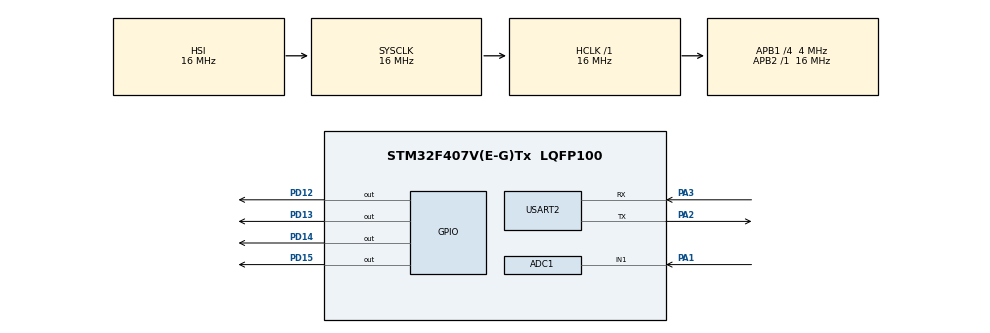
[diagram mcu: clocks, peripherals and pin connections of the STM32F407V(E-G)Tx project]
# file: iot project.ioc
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ADC1.Channel-0\#ChannelRegularConversion=ADC_CHANNEL_1
ADC1.ClockPrescaler=ADC_CLOCK_SYNC_PCLK_DIV2
ADC1.ContinuousConvMode=ENABLE
ADC1.DMAContinuousRequests=ENABLE
ADC1.EnableAnalogWatchDog=false
ADC1.NbrOfConversionFlag=1
ADC1.Rank-0\#ChannelRegularConversion=1
ADC1.Resolution=ADC_RESOLUTION_12B
ADC1.SamplingTime-0\#ChannelRegularConversion=ADC_SAMPLETIME_3CYCLES
ADC1.master=1
Dma.ADC1.0.Direction=DMA_PERIPH_TO_MEMORY
Dma.ADC1.0.FIFOMode=DMA_FIFOMODE_DISABLE
Dma.ADC1.0.Instance=DMA2_Stream0
Dma.ADC1.0.MemDataAlignment=DMA_MDATAALIGN_HALFWORD
Dma.ADC1.0.MemInc=DMA_MINC_ENABLE
Dma.ADC1.0.Mode=DMA_CIRCULAR
Dma.ADC1.0.PeriphDataAlignment=DMA_PDATAALIGN_HALFWORD
Dma.ADC1.0.PeriphInc=DMA_PINC_DISABLE
Dma.ADC1.0.Priority=DMA_PRIORITY_LOW
Dma.Request0=ADC1
Dma.Request1=USART2_TX
Dma.Request2=USART2_RX
Dma.USART2_RX.2.Direction=DMA_PERIPH_TO_MEMORY
Dma.USART2_RX.2.FIFOMode=DMA_FIFOMODE_DISABLE
Dma.USART2_RX.2.Instance=DMA1_Stream5
Dma.USART2_RX.2.MemDataAlignment=DMA_MDATAALIGN_BYTE
Dma.USART2_RX.2.MemInc=DMA_MINC_ENABLE
Dma.USART2_RX.2.Mode=DMA_NORMAL
Dma.USART2_RX.2.PeriphDataAlignment=DMA_PDATAALIGN_BYTE
Dma.USART2_RX.2.PeriphInc=DMA_PINC_DISABLE
Dma.USART2_RX.2.Priority=DMA_PRIORITY_LOW
Dma.USART2_TX.1.Direction=DMA_MEMORY_TO_PERIPH
Dma.USART2_TX.1.FIFOMode=DMA_FIFOMODE_DISABLE
Dma.USART2_TX.1.Instance=DMA1_Stream6
Dma.USART2_TX.1.MemDataAlignment=DMA_MDATAALIGN_BYTE
Dma.USART2_TX.1.MemInc=DMA_MINC_ENABLE
Dma.USART2_TX.1.Mode=DMA_NORMAL
Dma.USART2_TX.1.PeriphDataAlignment=DMA_PDATAALIGN_BYTE
Dma.USART2_TX.1.PeriphInc=DMA_PINC_DISABLE
Dma.USART2_TX.1.Priority=DMA_PRIORITY_VERY_HIGH
Mcu.Family=STM32F4
Mcu.Name=STM32F407V(E-G)Tx
Mcu.Package=LQFP100
NVIC.DMA1_Stream5_IRQn=true\:0\:0\:false\:false\:true\:false\:true\:true
NVIC.DMA1_Stream6_IRQn=true\:0\:0\:false\:false\:true\:false\:true\:true
NVIC.DMA2_Stream0_IRQn=true\:0\:0\:false\:false\:true\:false\:true\:true
NVIC.PriorityGroup=NVIC_PRIORITYGROUP_0
NVIC.TIM6_DAC_IRQn=true\:0\:0\:false\:false\:true\:true\:true\:true
NVIC.USART2_IRQn=true\:0\:0\:false\:false\:true\:true\:true\:true
PA1.Signal=ADCx_IN1
PA2.GPIO_PuPd=GPIO_PULLUP
PA2.Mode=Asynchronous
PA2.Signal=USART2_TX
PA3.GPIO_PuPd=GPIO_PULLUP
PA3.Mode=Asynchronous
PA3.Signal=USART2_RX
PD12.Signal=GPIO_Output
PD13.Signal=GPIO_Output
PD14.Signal=GPIO_Output
PD15.Signal=GPIO_Output
PH0-OSC_IN.Mode=HSE-External-Oscillator
PH0-OSC_IN.Signal=RCC_OSC_IN
PH1-OSC_OUT.Mode=HSE-External-Oscillator
PH1-OSC_OUT.Signal=RCC_OSC_OUT
ProjectManager.HeapSize=0x200
ProjectManager.StackSize=0x400
ProjectManager.TargetToolchain=STM32CubeIDE
RCC.48MHZClocksFreq_Value=18285714.285714287
RCC.AHBFreq_Value=16000000
RCC.APB1CLKDivider=RCC_HCLK_DIV4
RCC.APB1Freq_Value=4000000
RCC.APB1TimFreq_Value=8000000
RCC.APB2Freq_Value=16000000
RCC.APB2TimFreq_Value=16000000
RCC.CortexFreq_Value=16000000
RCC.HCLKFreq_Value=16000000
RCC.HSE_VALUE=8000000
RCC.HSI_VALUE=16000000
RCC.LSE_VALUE=32768
RCC.PLLM=8
RCC.PLLN=64
RCC.PLLQ=7
RCC.SYSCLKFreq_VALUE=16000000
RCC.VCOOutputFreq_Value=128000000
SH.ADCx_IN1.0=ADC1_IN1,IN1
TIM6.Period=9999
TIM6.Prescaler=1599
USART2.OverSampling=UART_OVERSAMPLING_16
USART2.VirtualMode=VM_ASYNC
VP_TIM6_VS_ClockSourceINT.Mode=Enable_Timer
board=STM32F407G-DISC1

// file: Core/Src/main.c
/* USER CODE BEGIN Header */
/**
  ******************************************************************************
  * @file           : main.c
  * @brief          : Main program body
  ******************************************************************************
  * @attention
  *
  * Copyright (c) 2025 STMicroelectronics.
  * All rights reserved.
  *
  * This software is licensed under terms that can be found in the LICENSE file
  * in the root directory of this software component.
  * If no LICENSE file comes with this software, it is provided AS-IS.
  *
  ******************************************************************************
  */
/* USER CODE END Header */
#include "main.h"
#include "adc.h"
#include "dma.h"
#include "tim.h"
#include "usart.h"
#include "gpio.h"

/* USER CODE BEGIN Includes */
#include <stdio.h>
#include <string.h>
/* USER CODE END Includes */

/* USER CODE BEGIN PM */
#define ADC_THRESHOLD_HIGH  4000
#define ADC_THRESHOLD_MIDH  3000
#define ADC_THRESHOLD_MIDL  2000
#define ADC_THRESHOLD_LOW   1000
#define MAX_RETRIES 3
/* USER CODE END PM */

/* USER CODE BEGIN PV */
//volatile uint16_t adc_val;
int adc_val;
char tx_buffer [10];
int len;
/* USER CODE END PV */

void SystemClock_Config(void);

/* USER CODE BEGIN 0 */
void Start_ADC_DMA() {
    HAL_ADC_Start_DMA(&hadc1, (uint32_t*)&adc_val, 1);
}

void Process_ADC_Value() {
	uint16_t pins_to_set = 0;
	uint16_t pins_to_reset = 0;

 	if (adc_val > ADC_THRESHOLD_HIGH) {
        pins_to_set = GPIO_PIN_12 | GPIO_PIN_13 | GPIO_PIN_14 | GPIO_PIN_15;
    } else if (adc_val > ADC_THRESHOLD_MIDH) {
        pins_to_set = GPIO_PIN_12 | GPIO_PIN_13 | GPIO_PIN_14;
        pins_to_reset = GPIO_PIN_15;
    } else if (adc_val > ADC_THRESHOLD_MIDL) {
        pins_to_set = GPIO_PIN_12 | GPIO_PIN_13;
        pins_to_reset = GPIO_PIN_14 | GPIO_PIN_15;
    } else if (adc_val > ADC_THRESHOLD_LOW) {
        pins_to_set = GPIO_PIN_12;
        pins_to_reset = GPIO_PIN_13 | GPIO_PIN_14 | GPIO_PIN_15;
    } else {
        pins_to_reset = GPIO_PIN_12 | GPIO_PIN_13 | GPIO_PIN_14 | GPIO_PIN_15;
    }

    HAL_GPIO_WritePin(GPIOD, pins_to_set, GPIO_PIN_SET);
    HAL_GPIO_WritePin(GPIOD, pins_to_reset, GPIO_PIN_RESET);
}

void Send_ADC_Value() {
	len = snprintf(tx_buffer, sizeof(tx_buffer), "%d\n", adc_val);

	if (huart2.gState == HAL_UART_STATE_READY) {  // Check if UART is ready
		if (HAL_UART_Transmit_DMA(&huart2, (uint8_t*)tx_buffer, len) != HAL_OK) {
			Error_Handler();
		}
	}
}

void HAL_ADC_ConvCpltCallback(ADC_HandleTypeDef* hadc) {
    if (hadc->Instance == ADC1) {
    	Process_ADC_Value();
    }
}

void HAL_TIM_PeriodElapsedCallback(TIM_HandleTypeDef *htim) {
    if (htim->Instance == TIM6) {  // Check if the timer is TIM6
    	Send_ADC_Value();
    }
}

/* USER CODE END 0 */

int main(void)
{

  /* MCU Configuration--------------------------------------------------------*/

  /* Reset of all peripherals, Initializes the Flash interface and the Systick. */
  HAL_Init();

  /* Configure the system clock */
  SystemClock_Config();

  /* Initialize all configured peripherals */
  MX_GPIO_Init();
  MX_DMA_Init();
  MX_ADC1_Init();
  MX_USART2_UART_Init();
  MX_TIM6_Init();
  /* USER CODE BEGIN 2 */
  HAL_TIM_Base_Start_IT(&htim6);  // Start the 1s Timer Interrupt
  Start_ADC_DMA();	// Start ADC with DMA
  /* USER CODE END 2 */

  /* Infinite loop */
  while (1)
  {

  }
}

void SystemClock_Config(void)
{
  RCC_OscInitTypeDef RCC_OscInitStruct = {0};
  RCC_ClkInitTypeDef RCC_ClkInitStruct = {0};

  /** Configure the main internal regulator output voltage
  */
  __HAL_RCC_PWR_CLK_ENABLE();
  __HAL_PWR_VOLTAGESCALING_CONFIG(PWR_REGULATOR_VOLTAGE_SCALE1);

  /** Initializes the RCC Oscillators according to the specified parameters
  * in the RCC_OscInitTypeDef structure.
  */
  RCC_OscInitStruct.OscillatorType = RCC_OSCILLATORTYPE_HSI;
  RCC_OscInitStruct.HSIState = RCC_HSI_ON;
  RCC_OscInitStruct.HSICalibrationValue = RCC_HSICALIBRATION_DEFAULT;
  RCC_OscInitStruct.PLL.PLLState = RCC_PLL_NONE;
  if (HAL_RCC_OscConfig(&RCC_OscInitStruct) != HAL_OK)
  {
    Error_Handler();
  }

  /** Initializes the CPU, AHB and APB buses clocks
  */
  RCC_ClkInitStruct.ClockType = RCC_CLOCKTYPE_HCLK|RCC_CLOCKTYPE_SYSCLK
                              |RCC_CLOCKTYPE_PCLK1|RCC_CLOCKTYPE_PCLK2;
  RCC_ClkInitStruct.SYSCLKSource = RCC_SYSCLKSOURCE_HSI;
  RCC_ClkInitStruct.AHBCLKDivider = RCC_SYSCLK_DIV1;
  RCC_ClkInitStruct.APB1CLKDivider = RCC_HCLK_DIV4;
  RCC_ClkInitStruct.APB2CLKDivider = RCC_HCLK_DIV1;

  if (HAL_RCC_ClockConfig(&RCC_ClkInitStruct, FLASH_LATENCY_0) != HAL_OK)
  {
    Error_Handler();
  }
}

void Error_Handler(void)
{
  __disable_irq();
  while (1)
  {
  }
}
